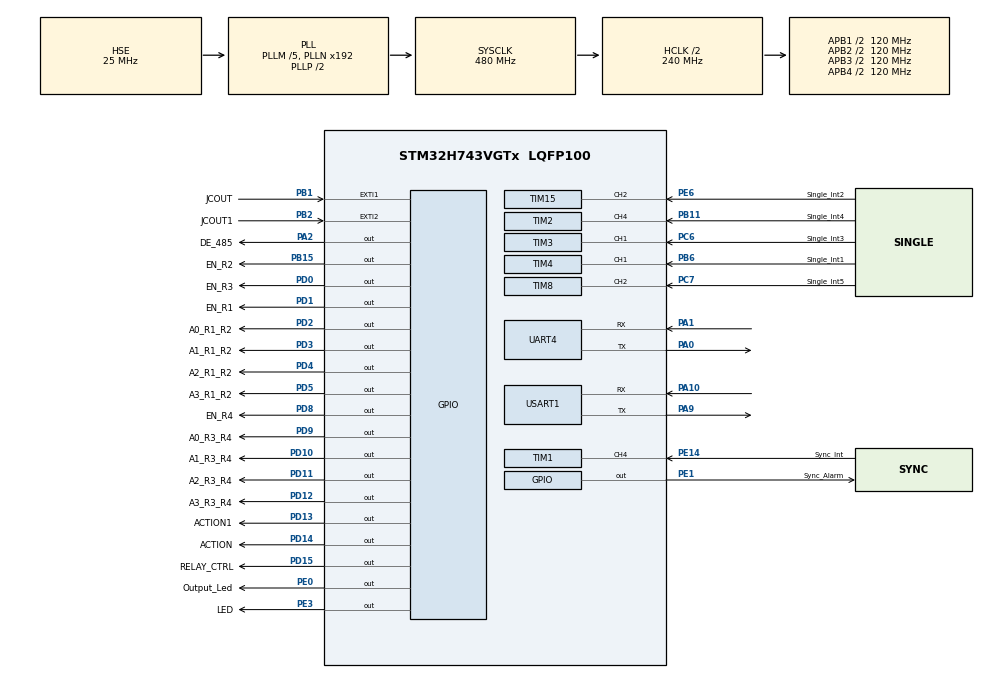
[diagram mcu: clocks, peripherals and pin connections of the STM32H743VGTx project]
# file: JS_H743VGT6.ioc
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CORTEX_M7.default_mode_Activation=1
FREERTOS.CountingSemaphores01=HolesCountingSem,16,Dynamic,NULL,0
FREERTOS.Events01=PositionEvent1_MPC1,Dynamic,NULL;PositionEvent2_MPC1,Dynamic,NULL;PositionEvent3_MPC1,Dynamic,NULL;PositionEvent4_MPC1,Dynamic,NULL;PositionEvent1_MPC2,Dynamic,NULL;PositionEvent2_MPC2,Dynamic,NULL;PositionEvent3_MPC2,Dynamic,NULL;PositionEvent4_MPC2,Dynamic,NULL
FREERTOS.Tasks01=SyncTask,34,128,StartSyncTask,Default,NULL,Dynamic,NULL,NULL;ICTask,32,128,StartICTask,Default,NULL,Dynamic,NULL,NULL;Rec_SwitchTask,32,128,StartRec_SwitchTask,Default,NULL,Dynamic,NULL,NULL;AlarmTask,24,128,StartAlarmTask,Default,NULL,Dynamic,NULL,NULL;Hole_ldentify,24,128,StartHole_ldentifyTask,Default,NULL,Dynamic,NULL,NULL
Mcu.Family=STM32H7
Mcu.Name=STM32H743VGTx
Mcu.Package=LQFP100
NVIC.EXTI1_IRQn=true\:6\:0\:true\:false\:true\:true\:true\:true\:true
NVIC.EXTI2_IRQn=true\:6\:0\:true\:false\:true\:true\:true\:true\:true
NVIC.PriorityGroup=NVIC_PRIORITYGROUP_4
NVIC.TIM15_IRQn=true\:6\:0\:true\:false\:true\:true\:true\:true\:true
NVIC.TIM17_IRQn=true\:15\:0\:false\:false\:true\:false\:false\:true\:true
NVIC.TIM1_CC_IRQn=true\:6\:0\:true\:false\:true\:true\:true\:true\:true
NVIC.TIM1_UP_IRQn=true\:6\:0\:true\:false\:true\:true\:true\:true\:true
NVIC.TIM2_IRQn=true\:6\:0\:true\:false\:true\:true\:true\:true\:true
NVIC.TIM3_IRQn=true\:6\:0\:true\:false\:true\:true\:true\:true\:true
NVIC.TIM4_IRQn=true\:6\:0\:true\:false\:true\:true\:true\:true\:true
NVIC.TIM6_DAC_IRQn=true\:5\:0\:false\:false\:true\:true\:true\:true\:true
NVIC.TIM7_IRQn=true\:6\:0\:true\:false\:true\:true\:true\:true\:true
NVIC.TIM8_CC_IRQn=true\:6\:0\:true\:false\:true\:true\:true\:true\:true
NVIC.TIM8_UP_TIM13_IRQn=true\:6\:0\:true\:false\:true\:true\:true\:true\:true
NVIC.TimeBase=TIM17_IRQn
NVIC.TimeBaseIP=TIM17
NVIC.UART4_IRQn=true\:6\:0\:true\:false\:true\:true\:true\:true\:true
NVIC.USART1_IRQn=true\:6\:0\:true\:false\:true\:true\:true\:true\:true
PA0.Mode=Asynchronous
PA0.Signal=UART4_TX
PA1.Mode=Asynchronous
PA1.Signal=UART4_RX
PA10.Mode=Asynchronous
PA10.Signal=USART1_RX
PA13\ (JTMS/SWDIO).Mode=Serial_Wire
PA13\ (JTMS/SWDIO).Signal=DEBUG_JTMS-SWDIO
PA14\ (JTCK/SWCLK).Mode=Serial_Wire
PA14\ (JTCK/SWCLK).Signal=DEBUG_JTCK-SWCLK
PA2.GPIO_Label=DE_485
PA2.GPIO_Speed=GPIO_SPEED_FREQ_HIGH
PA2.Signal=GPIO_Output
PA9.Mode=Asynchronous
PA9.Signal=USART1_TX
PB1.GPIO_Label=JCOUT
PB1.Signal=GPXTI1
PB11.GPIO_Label=Single_Int4
PB11.GPIO_Speed=GPIO_SPEED_FREQ_HIGH
PB11.Signal=S_TIM2_CH4
PB15.GPIO_Label=EN_R2
PB15.GPIO_ModeDefaultOutputPP=GPIO_MODE_OUTPUT_OD
PB15.GPIO_PuPd=GPIO_NOPULL
PB15.GPIO_Speed=GPIO_SPEED_FREQ_HIGH
PB15.PinState=GPIO_PIN_SET
PB15.Signal=GPIO_Output
PB2.GPIO_Label=JCOUT1
PB2.Signal=GPXTI2
PB6.GPIO_Label=Single_Int1
PB6.GPIO_Speed=GPIO_SPEED_FREQ_HIGH
PB6.Signal=S_TIM4_CH1
PC6.GPIO_Label=Single_Int3
PC6.GPIO_Speed=GPIO_SPEED_FREQ_HIGH
PC6.Signal=S_TIM3_CH1
PC7.GPIO_Label=Single_Int5
PC7.GPIO_Speed=GPIO_SPEED_FREQ_HIGH
PC7.Signal=S_TIM8_CH2
PD0.GPIO_Label=EN_R3
PD0.GPIO_ModeDefaultOutputPP=GPIO_MODE_OUTPUT_OD
PD0.GPIO_PuPd=GPIO_NOPULL
PD0.GPIO_Speed=GPIO_SPEED_FREQ_HIGH
PD0.PinState=GPIO_PIN_SET
PD0.Signal=GPIO_Output
PD1.GPIO_Label=EN_R1
PD1.GPIO_ModeDefaultOutputPP=GPIO_MODE_OUTPUT_OD
PD1.GPIO_PuPd=GPIO_NOPULL
PD1.GPIO_Speed=GPIO_SPEED_FREQ_HIGH
PD1.PinState=GPIO_PIN_SET
PD1.Signal=GPIO_Output
PD10.GPIO_Label=A1_R3_R4
PD10.GPIO_ModeDefaultOutputPP=GPIO_MODE_OUTPUT_OD
PD10.GPIO_PuPd=GPIO_NOPULL
PD10.GPIO_Speed=GPIO_SPEED_FREQ_HIGH
PD10.PinState=GPIO_PIN_SET
PD10.Signal=GPIO_Output
PD11.GPIO_Label=A2_R3_R4
PD11.GPIO_ModeDefaultOutputPP=GPIO_MODE_OUTPUT_OD
PD11.GPIO_PuPd=GPIO_NOPULL
PD11.GPIO_Speed=GPIO_SPEED_FREQ_HIGH
PD11.PinState=GPIO_PIN_SET
PD11.Signal=GPIO_Output
PD12.GPIO_Label=A3_R3_R4
PD12.GPIO_ModeDefaultOutputPP=GPIO_MODE_OUTPUT_OD
PD12.GPIO_PuPd=GPIO_NOPULL
PD12.GPIO_Speed=GPIO_SPEED_FREQ_HIGH
PD12.PinState=GPIO_PIN_SET
PD12.Signal=GPIO_Output
PD13.GPIO_Label=ACTION1
PD13.GPIO_ModeDefaultOutputPP=GPIO_MODE_OUTPUT_OD
PD13.GPIO_PuPd=GPIO_NOPULL
PD13.GPIO_Speed=GPIO_SPEED_FREQ_HIGH
PD13.PinState=GPIO_PIN_SET
PD13.Signal=GPIO_Output
PD14.GPIO_Label=ACTION
PD14.GPIO_ModeDefaultOutputPP=GPIO_MODE_OUTPUT_OD
PD14.GPIO_PuPd=GPIO_NOPULL
PD14.GPIO_Speed=GPIO_SPEED_FREQ_HIGH
PD14.PinState=GPIO_PIN_SET
PD14.Signal=GPIO_Output
PD15.GPIO_Label=RELAY_CTRL
PD15.GPIO_ModeDefaultOutputPP=GPIO_MODE_OUTPUT_OD
PD15.GPIO_PuPd=GPIO_NOPULL
PD15.GPIO_Speed=GPIO_SPEED_FREQ_HIGH
PD15.PinState=GPIO_PIN_SET
PD15.Signal=GPIO_Output
PD2.GPIO_Label=A0_R1_R2
PD2.GPIO_ModeDefaultOutputPP=GPIO_MODE_OUTPUT_OD
PD2.GPIO_PuPd=GPIO_NOPULL
PD2.GPIO_Speed=GPIO_SPEED_FREQ_HIGH
PD2.PinState=GPIO_PIN_SET
PD2.Signal=GPIO_Output
PD3.GPIO_Label=A1_R1_R2
PD3.GPIO_ModeDefaultOutputPP=GPIO_MODE_OUTPUT_OD
PD3.GPIO_PuPd=GPIO_NOPULL
PD3.GPIO_Speed=GPIO_SPEED_FREQ_HIGH
PD3.PinState=GPIO_PIN_SET
PD3.Signal=GPIO_Output
PD4.GPIO_Label=A2_R1_R2
PD4.GPIO_ModeDefaultOutputPP=GPIO_MODE_OUTPUT_OD
PD4.GPIO_PuPd=GPIO_NOPULL
PD4.GPIO_Speed=GPIO_SPEED_FREQ_HIGH
PD4.PinState=GPIO_PIN_SET
PD4.Signal=GPIO_Output
PD5.GPIO_Label=A3_R1_R2
PD5.GPIO_ModeDefaultOutputPP=GPIO_MODE_OUTPUT_OD
PD5.GPIO_PuPd=GPIO_NOPULL
PD5.GPIO_Speed=GPIO_SPEED_FREQ_HIGH
PD5.PinState=GPIO_PIN_SET
PD5.Signal=GPIO_Output
PD8.GPIO_Label=EN_R4
PD8.GPIO_ModeDefaultOutputPP=GPIO_MODE_OUTPUT_OD
PD8.GPIO_PuPd=GPIO_NOPULL
PD8.GPIO_Speed=GPIO_SPEED_FREQ_HIGH
PD8.PinState=GPIO_PIN_SET
PD8.Signal=GPIO_Output
PD9.GPIO_Label=A0_R3_R4
PD9.GPIO_ModeDefaultOutputPP=GPIO_MODE_OUTPUT_OD
PD9.GPIO_PuPd=GPIO_NOPULL
PD9.GPIO_Speed=GPIO_SPEED_FREQ_HIGH
PD9.PinState=GPIO_PIN_SET
PD9.Signal=GPIO_Output
PE0.GPIO_Label=Output_Led
PE0.GPIO_ModeDefaultOutputPP=GPIO_MODE_OUTPUT_OD
PE0.GPIO_PuPd=GPIO_NOPULL
PE0.GPIO_Speed=GPIO_SPEED_FREQ_HIGH
PE0.PinState=GPIO_PIN_SET
PE0.Signal=GPIO_Output
PE1.GPIO_Label=Sync_Alarm
PE1.GPIO_ModeDefaultOutputPP=GPIO_MODE_OUTPUT_OD
PE1.GPIO_PuPd=GPIO_NOPULL
PE1.GPIO_Speed=GPIO_SPEED_FREQ_HIGH
PE1.PinState=GPIO_PIN_SET
PE1.Signal=GPIO_Output
PE14.GPIO_Label=Sync_Int
PE14.GPIO_Speed=GPIO_SPEED_FREQ_HIGH
PE14.Signal=S_TIM1_CH4
PE3.GPIO_Label=LED
PE3.GPIO_Speed=GPIO_SPEED_FREQ_HIGH
PE3.PinState=GPIO_PIN_SET
PE3.Signal=GPIO_Output
PE6.GPIO_Label=Single_Int2
PE6.GPIO_Speed=GPIO_SPEED_FREQ_HIGH
PE6.Signal=S_TIM15_CH2
PH0-OSC_IN\ (PH0).Mode=HSE-External-Oscillator
PH0-OSC_IN\ (PH0).Signal=RCC_OSC_IN
PH1-OSC_OUT\ (PH1).Mode=HSE-External-Oscillator
PH1-OSC_OUT\ (PH1).Signal=RCC_OSC_OUT
ProjectManager.HeapSize=0x200
ProjectManager.StackSize=0x400
ProjectManager.TargetToolchain=MDK-ARM V5.32
RCC.ADCFreq_Value=50390625
RCC.APB1Freq_Value=120000000
RCC.APB2Freq_Value=120000000
RCC.APB3Freq_Value=120000000
RCC.APB4Freq_Value=120000000
RCC.CortexFreq_Value=480000000
RCC.D1PPRE=RCC_APB3_DIV2
RCC.D2PPRE1=RCC_APB1_DIV2
RCC.D2PPRE2=RCC_APB2_DIV2
RCC.D3PPRE=RCC_APB4_DIV2
RCC.DIVM1=5
RCC.DIVN1=192
RCC.HCLKFreq_Value=240000000
RCC.HPRE=RCC_HCLK_DIV2
RCC.PLL2FRACN=0
RCC.PLL3FRACN=0
RCC.PLLFRACN=0
RCC.PLLSourceVirtual=RCC_PLLSOURCE_HSE
RCC.SYSCLKFreq_VALUE=480000000
RCC.SYSCLKSource=RCC_SYSCLKSOURCE_PLLCLK
RCC.USBFreq_Value=480000000
SH.S_TIM15_CH2.0=TIM15_CH2,Input_Capture2_from_TI2
SH.S_TIM1_CH4.0=TIM1_CH4,Input_Capture4_from_TI4
SH.S_TIM2_CH4.0=TIM2_CH4,Input_Capture4_from_TI4
SH.S_TIM3_CH1.0=TIM3_CH1,Input_Capture1_from_TI1
SH.S_TIM4_CH1.0=TIM4_CH1,Input_Capture1_from_TI1
SH.S_TIM8_CH2.0=TIM8_CH2,Input_Capture2_from_TI2
TIM1.AutoReloadPreload=TIM_AUTORELOAD_PRELOAD_ENABLE
TIM1.Channel-Input_Capture4_from_TI4=TIM_CHANNEL_4
TIM1.ICFilter_CH4=15
TIM1.Period=50000-1
TIM1.Prescaler=240-1
TIM15.AutoReloadPreload=TIM_AUTORELOAD_PRELOAD_ENABLE
TIM15.Channel-Input_Capture2_from_TI2=TIM_CHANNEL_2
TIM15.ICPolarity_CH2=TIM_INPUTCHANNELPOLARITY_FALLING
TIM15.Period=50000-1
TIM15.Prescaler=240-1
TIM2.AutoReloadPreload=TIM_AUTORELOAD_PRELOAD_ENABLE
TIM2.Channel-Input_Capture4_from_TI4=TIM_CHANNEL_4
TIM2.Period=50000-1
TIM2.Prescaler=240-1
TIM3.AutoReloadPreload=TIM_AUTORELOAD_PRELOAD_ENABLE
TIM3.Channel-Input_Capture1_from_TI1=TIM_CHANNEL_1
TIM3.Period=50000-1
TIM3.Prescaler=240-1
TIM4.AutoReloadPreload=TIM_AUTORELOAD_PRELOAD_ENABLE
TIM4.Channel-Input_Capture1_from_TI1=TIM_CHANNEL_1
TIM4.Period=50000-1
TIM4.Prescaler=240-1
TIM6.AutoReloadPreload=TIM_AUTORELOAD_PRELOAD_ENABLE
TIM6.Period=10-1
TIM6.Prescaler=240-1
TIM7.AutoReloadPreload=TIM_AUTORELOAD_PRELOAD_ENABLE
TIM7.Period=65536-1
TIM7.Prescaler=240-1
TIM8.AutoReloadPreload=TIM_AUTORELOAD_PRELOAD_ENABLE
TIM8.Channel-Input_Capture2_from_TI2=TIM_CHANNEL_2
TIM8.Period=50000-1
TIM8.Prescaler=240-1
USART1.VirtualMode-Asynchronous=VM_ASYNC
VP_FREERTOS_VS_CMSIS_V2.Mode=CMSIS_V2
VP_MEMORYMAP_VS_MEMORYMAP.Mode=CurAppReg
VP_SYS_VS_tim17.Mode=TIM17
VP_TIM13_VS_ClockSourceINT.Mode=Enable_Timer
VP_TIM15_VS_ClockSourceINT.Mode=Internal
VP_TIM2_VS_ClockSourceINT.Mode=Internal
VP_TIM3_VS_ClockSourceINT.Mode=Internal
VP_TIM4_VS_ClockSourceINT.Mode=Internal
VP_TIM6_VS_ClockSourceINT.Mode=Enable_Timer
VP_TIM7_VS_ClockSourceINT.Mode=Enable_Timer
VP_TIM8_VS_ClockSourceINT.Mode=Internal
board=custom

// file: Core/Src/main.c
/* USER CODE BEGIN Header */
/**
  ******************************************************************************
  * @file           : main.c
  * @brief          : Main program body
  ******************************************************************************
  * @attention
  *
  * Copyright (c) 2024 STMicroelectronics.
  * All rights reserved.
  *
  * This software is licensed under terms that can be found in the LICENSE file
  * in the root directory of this software component.
  * If no LICENSE file comes with this software, it is provided AS-IS.
  *
  ******************************************************************************
  */
/* USER CODE END Header */
#include "main.h"
#include "cmsis_os.h"
#include "memorymap.h"
#include "tim.h"
#include "usart.h"
#include "gpio.h"

void SystemClock_Config(void);
static void MPU_Config(void);
void MX_FREERTOS_Init(void);

int main(void)
{

  /* MPU Configuration--------------------------------------------------------*/
  MPU_Config();

  /* MCU Configuration--------------------------------------------------------*/

  /* Reset of all peripherals, Initializes the Flash interface and the Systick. */
  HAL_Init();

  /* Configure the system clock */
  SystemClock_Config();

  /* Initialize all configured peripherals */
  MX_GPIO_Init();
  MX_TIM2_Init();
  MX_TIM3_Init();
  MX_TIM4_Init();
  MX_TIM8_Init();
  MX_TIM15_Init();
  MX_TIM1_Init();
  MX_UART4_Init();
  MX_TIM6_Init();
  MX_USART1_UART_Init();
  MX_TIM7_Init();
  MX_TIM13_Init();
  /* USER CODE BEGIN 2 */
  HAL_TIM_Base_Start_IT(&htim7);
  /* USER CODE END 2 */

  /* Init scheduler */
  osKernelInitialize();

  /* Call init function for freertos objects (in cmsis_os2.c) */
  MX_FREERTOS_Init();

  /* Start scheduler */
  osKernelStart();

  /* We should never get here as control is now taken by the scheduler */

  /* Infinite loop */
  while (1)
  {

  }
}

void SystemClock_Config(void)
{
  RCC_OscInitTypeDef RCC_OscInitStruct = {0};
  RCC_ClkInitTypeDef RCC_ClkInitStruct = {0};

  /** Supply configuration update enable
  */
  HAL_PWREx_ConfigSupply(PWR_LDO_SUPPLY);

  /** Configure the main internal regulator output voltage
  */
  __HAL_PWR_VOLTAGESCALING_CONFIG(PWR_REGULATOR_VOLTAGE_SCALE1);

  while(!__HAL_PWR_GET_FLAG(PWR_FLAG_VOSRDY)) {}

  __HAL_RCC_SYSCFG_CLK_ENABLE();
  __HAL_PWR_VOLTAGESCALING_CONFIG(PWR_REGULATOR_VOLTAGE_SCALE0);

  while(!__HAL_PWR_GET_FLAG(PWR_FLAG_VOSRDY)) {}

  /** Initializes the RCC Oscillators according to the specified parameters
  * in the RCC_OscInitTypeDef structure.
  */
  RCC_OscInitStruct.OscillatorType = RCC_OSCILLATORTYPE_HSE;
  RCC_OscInitStruct.HSEState = RCC_HSE_ON;
  RCC_OscInitStruct.PLL.PLLState = RCC_PLL_ON;
  RCC_OscInitStruct.PLL.PLLSource = RCC_PLLSOURCE_HSE;
  RCC_OscInitStruct.PLL.PLLM = 5;
  RCC_OscInitStruct.PLL.PLLN = 192;
  RCC_OscInitStruct.PLL.PLLP = 2;
  RCC_OscInitStruct.PLL.PLLQ = 2;
  RCC_OscInitStruct.PLL.PLLR = 2;
  RCC_OscInitStruct.PLL.PLLRGE = RCC_PLL1VCIRANGE_2;
  RCC_OscInitStruct.PLL.PLLVCOSEL = RCC_PLL1VCOWIDE;
  RCC_OscInitStruct.PLL.PLLFRACN = 0;
  if (HAL_RCC_OscConfig(&RCC_OscInitStruct) != HAL_OK)
  {
    Error_Handler();
  }

  /** Initializes the CPU, AHB and APB buses clocks
  */
  RCC_ClkInitStruct.ClockType = RCC_CLOCKTYPE_HCLK|RCC_CLOCKTYPE_SYSCLK
                              |RCC_CLOCKTYPE_PCLK1|RCC_CLOCKTYPE_PCLK2
                              |RCC_CLOCKTYPE_D3PCLK1|RCC_CLOCKTYPE_D1PCLK1;
  RCC_ClkInitStruct.SYSCLKSource = RCC_SYSCLKSOURCE_PLLCLK;
  RCC_ClkInitStruct.SYSCLKDivider = RCC_SYSCLK_DIV1;
  RCC_ClkInitStruct.AHBCLKDivider = RCC_HCLK_DIV2;
  RCC_ClkInitStruct.APB3CLKDivider = RCC_APB3_DIV2;
  RCC_ClkInitStruct.APB1CLKDivider = RCC_APB1_DIV2;
  RCC_ClkInitStruct.APB2CLKDivider = RCC_APB2_DIV2;
  RCC_ClkInitStruct.APB4CLKDivider = RCC_APB4_DIV2;

  if (HAL_RCC_ClockConfig(&RCC_ClkInitStruct, FLASH_LATENCY_4) != HAL_OK)
  {
    Error_Handler();
  }
}

 /* MPU Configuration */

void MPU_Config(void)
{
  MPU_Region_InitTypeDef MPU_InitStruct = {0};

  /* Disables the MPU */
  HAL_MPU_Disable();

  /** Initializes and configures the Region and the memory to be protected
  */
  MPU_InitStruct.Enable = MPU_REGION_ENABLE;
  MPU_InitStruct.Number = MPU_REGION_NUMBER0;
  MPU_InitStruct.BaseAddress = 0x0;
  MPU_InitStruct.Size = MPU_REGION_SIZE_4GB;
  MPU_InitStruct.SubRegionDisable = 0x87;
  MPU_InitStruct.TypeExtField = MPU_TEX_LEVEL0;
  MPU_InitStruct.AccessPermission = MPU_REGION_NO_ACCESS;
  MPU_InitStruct.DisableExec = MPU_INSTRUCTION_ACCESS_DISABLE;
  MPU_InitStruct.IsShareable = MPU_ACCESS_SHAREABLE;
  MPU_InitStruct.IsCacheable = MPU_ACCESS_NOT_CACHEABLE;
  MPU_InitStruct.IsBufferable = MPU_ACCESS_NOT_BUFFERABLE;

  HAL_MPU_ConfigRegion(&MPU_InitStruct);
  /* Enables the MPU */
  HAL_MPU_Enable(MPU_PRIVILEGED_DEFAULT);

}

//void HAL_TIM_PeriodElapsedCallback(TIM_HandleTypeDef *htim)
//{
//  /* USER CODE BEGIN Callback 0 */

//  /* USER CODE END Callback 0 */
//  if (htim->Instance == TIM17) {
//    HAL_IncTick();
//  }
//  /* USER CODE BEGIN Callback 1 */

//  /* USER CODE END Callback 1 */
//}

void Error_Handler(void)
{
  __disable_irq();
  while (1)
  {
  }
}

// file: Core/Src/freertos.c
/* USER CODE BEGIN Header */
/**
 ******************************************************************************
 * File Name          : freertos.c
 * Description        : Code for freertos applications
 ******************************************************************************
 * @attention
 *
 * Copyright (c) 2024 STMicroelectronics.
 * All rights reserved.
 *
 * This software is licensed under terms that can be found in the LICENSE file
 * in the root directory of this software component.
 * If no LICENSE file comes with this software, it is provided AS-IS.
 *
 ******************************************************************************
 */
/* USER CODE END Header */

#include "FreeRTOS.h"
#include "task.h"
#include "main.h"
#include "cmsis_os.h"

/* USER CODE BEGIN Includes */
#include "tim.h"
#include "gpio.h"
#include "limits.h"
#include "usart.h"
#include "stdio.h"
#include "semphr.h"
#include "portmacro.h"
#include "event_groups.h"

extern uint32_t Sync_capture_Buf[2]; // 存放计数值
extern uint8_t Sync_Cnt;             // 状态标志位
extern uint32_t Sync_high_time;      // 高电平时间

uint16_t semavalue = 0;

uint8_t Isfirstcirculation = 1;

int32_t position_old[4] = {0};
int32_t position_xor[4] = {0};

uint8_t position_num=0;

uint32_t test =0;
uint32_t test1 =0;
uint32_t test2 =0;
uint32_t test3 =0;
uint32_t test4 =0;
uint32_t test5 =0;
/* USER CODE END Includes */

/* USER CODE BEGIN PM */
void PrintTaskList(void);
/* USER CODE END PM */

/* Definitions for SyncTask */
osThreadId_t SyncTaskHandle;
const osThreadAttr_t SyncTask_attributes = {
  .name = "SyncTask",
  .stack_size = 128 * 4,
  .priority = (osPriority_t) osPriorityAboveNormal2,
};
/* Definitions for ICTask */
osThreadId_t ICTaskHandle;
const osThreadAttr_t ICTask_attributes = {
  .name = "ICTask",
  .stack_size = 128 * 4,
  .priority = (osPriority_t) osPriorityAboveNormal,
};
/* Definitions for Rec_SwitchTask */
osThreadId_t Rec_SwitchTaskHandle;
const osThreadAttr_t Rec_SwitchTask_attributes = {
  .name = "Rec_SwitchTask",
  .stack_size = 128 * 4,
  .priority = (osPriority_t) osPriorityAboveNormal,
};
/* Definitions for AlarmTask */
osThreadId_t AlarmTaskHandle;
const osThreadAttr_t AlarmTask_attributes = {
  .name = "AlarmTask",
  .stack_size = 128 * 4,
  .priority = (osPriority_t) osPriorityNormal,
};
/* Definitions for Hole_ldentify */
osThreadId_t Hole_ldentifyHandle;
const osThreadAttr_t Hole_ldentify_attributes = {
  .name = "Hole_ldentify",
  .stack_size = 128 * 4,
  .priority = (osPriority_t) osPriorityNormal,
};
/* Definitions for HolesCountingSem */
osSemaphoreId_t HolesCountingSemHandle;
const osSemaphoreAttr_t HolesCountingSem_attributes = {
  .name = "HolesCountingSem"
};
/* Definitions for PositionEvent1_MPC1 */
osEventFlagsId_t PositionEvent1_MPC1Handle;
const osEventFlagsAttr_t PositionEvent1_MPC1_attributes = {
  .name = "PositionEvent1_MPC1"
};
/* Definitions for PositionEvent2_MPC1 */
osEventFlagsId_t PositionEvent2_MPC1Handle;
const osEventFlagsAttr_t PositionEvent2_MPC1_attributes = {
  .name = "PositionEvent2_MPC1"
};
/* Definitions for PositionEvent3_MPC1 */
osEventFlagsId_t PositionEvent3_MPC1Handle;
const osEventFlagsAttr_t PositionEvent3_MPC1_attributes = {
  .name = "PositionEvent3_MPC1"
};
/* Definitions for PositionEvent4_MPC1 */
osEventFlagsId_t PositionEvent4_MPC1Handle;
const osEventFlagsAttr_t PositionEvent4_MPC1_attributes = {
  .name = "PositionEvent4_MPC1"
};
/* Definitions for PositionEvent1_MPC2 */
osEventFlagsId_t PositionEvent1_MPC2Handle;
const osEventFlagsAttr_t PositionEvent1_MPC2_attributes = {
  .name = "PositionEvent1_MPC2"
};
/* Definitions for PositionEvent2_MPC2 */
osEventFlagsId_t PositionEvent2_MPC2Handle;
const osEventFlagsAttr_t PositionEvent2_MPC2_attributes = {
  .name = "PositionEvent2_MPC2"
};
/* Definitions for PositionEvent3_MPC2 */
osEventFlagsId_t PositionEvent3_MPC2Handle;
const osEventFlagsAttr_t PositionEvent3_MPC2_attributes = {
  .name = "PositionEvent3_MPC2"
};
/* Definitions for PositionEvent4_MPC2 */
osEventFlagsId_t PositionEvent4_MPC2Handle;
const osEventFlagsAttr_t PositionEvent4_MPC2_attributes = {
  .name = "PositionEvent4_MPC2"
};

void StartSyncTask(void *argument);
void StartICTask(void *argument);
void StartRec_SwitchTask(void *argument);
void StartAlarmTask(void *argument);
void StartHole_ldentifyTask(void *argument);

void MX_FREERTOS_Init(void); /* (MISRA C 2004 rule 8.1) */

void MX_FREERTOS_Init(void) {

  /* Create the semaphores(s) */
  /* creation of HolesCountingSem */
  HolesCountingSemHandle = osSemaphoreNew(16, 0, &HolesCountingSem_attributes);

  /* Create the thread(s) */
  /* creation of SyncTask */
  SyncTaskHandle = osThreadNew(StartSyncTask, NULL, &SyncTask_attributes);

  /* creation of ICTask */
  ICTaskHandle = osThreadNew(StartICTask, NULL, &ICTask_attributes);

  /* creation of Rec_SwitchTask */
  Rec_SwitchTaskHandle = osThreadNew(StartRec_SwitchTask, NULL, &Rec_SwitchTask_attributes);

  /* creation of AlarmTask */
  AlarmTaskHandle = osThreadNew(StartAlarmTask, NULL, &AlarmTask_attributes);

  /* creation of Hole_ldentify */
  Hole_ldentifyHandle = osThreadNew(StartHole_ldentifyTask, NULL, &Hole_ldentify_attributes);

  /* Create the event(s) */
  /* creation of PositionEvent1_MPC1 */
  PositionEvent1_MPC1Handle = osEventFlagsNew(&PositionEvent1_MPC1_attributes);

  /* creation of PositionEvent2_MPC1 */
  PositionEvent2_MPC1Handle = osEventFlagsNew(&PositionEvent2_MPC1_attributes);

  /* creation of PositionEvent3_MPC1 */
  PositionEvent3_MPC1Handle = osEventFlagsNew(&PositionEvent3_MPC1_attributes);

  /* creation of PositionEvent4_MPC1 */
  PositionEvent4_MPC1Handle = osEventFlagsNew(&PositionEvent4_MPC1_attributes);

  /* creation of PositionEvent1_MPC2 */
  PositionEvent1_MPC2Handle = osEventFlagsNew(&PositionEvent1_MPC2_attributes);

  /* creation of PositionEvent2_MPC2 */
  PositionEvent2_MPC2Handle = osEventFlagsNew(&PositionEvent2_MPC2_attributes);

  /* creation of PositionEvent3_MPC2 */
  PositionEvent3_MPC2Handle = osEventFlagsNew(&PositionEvent3_MPC2_attributes);

  /* creation of PositionEvent4_MPC2 */
  PositionEvent4_MPC2Handle = osEventFlagsNew(&PositionEvent4_MPC2_attributes);

}

void StartSyncTask(void *argument)
{
  /* USER CODE BEGIN StartSyncTask */
  /* Infinite loop */
  for (;;)
  {
		test++;     //待删除
    switch (Sync_Cnt)
    {
    case 0:
      Sync_Cnt++;
      TIM_RESET_CAPTUREPOLARITY(&htim1, TIM_CHANNEL_4);
      __HAL_TIM_SET_CAPTUREPOLARITY(&htim1, TIM_CHANNEL_4, TIM_INPUTCHANNELPOLARITY_RISING);
      HAL_TIM_IC_Start_IT(&htim1, TIM_CHANNEL_4); // 启动输入捕获       或者: __HAL_TIM_ENABLE(&htim5);
      break;
    case 3:
      if (Sync_capture_Buf[1] < Sync_capture_Buf[0])
      {                                                                       // 不存在先捕获高电平后捕获低电平capture_Buf[1]<capture_Buf[0],肯定是有了溢出
        Sync_high_time = 50000 + Sync_capture_Buf[1] - Sync_capture_Buf[0]; // 100000    0x186A0
      }
      else
      {
        Sync_high_time = Sync_capture_Buf[1] - Sync_capture_Buf[0]; // 高电平时间
      }

     // Sync_Cnt = 0;
      // if (Sync_high_time == 0x1B)
      if (Sync_high_time >= 0x19&&Sync_high_time <= 0x1D)
      {
				test4++;
        Sync_Cnt = 5;
				xTaskNotifyGive((TaskHandle_t)Rec_SwitchTaskHandle);
        xTaskNotifyGive((TaskHandle_t)ICTaskHandle);
        vTaskDelay(4);
      }
      else
      {
        Sync_Cnt = 0;
      }
		}

  }
  /* USER CODE END StartSyncTask */
}

void StartICTask(void *argument)
{
  /* USER CODE BEGIN StartICTask */
  BaseType_t ret;

  /* Infinite loop */
  for (;;)
  {
    ret = ulTaskNotifyTake(pdFALSE, portMAX_DELAY);
    if (ret == pdPASS)
    {
			test1++;
      // LXXX:按照所查资料提示，如果不行那就还是将同步引脚更改为其他引脚，TIM2作为主定时器通过事件触发从定时器同步捕获，硬件层面的同步捕获
     HAL_TIM_IC_Start_IT(&htim4, TIM_CHANNEL_1);
     HAL_TIM_IC_Start_IT(&htim15, TIM_CHANNEL_2);
     HAL_TIM_IC_Start_IT(&htim3, TIM_CHANNEL_1);
     HAL_TIM_IC_Start_IT(&htim2, TIM_CHANNEL_4);
    }
    else
    {

    }
    vTaskDelay(4);
  }
  /* USER CODE END StartICTask */
}

void StartRec_SwitchTask(void *argument)
{
  /* USER CODE BEGIN StartRec_SwitchTask */
  BaseType_t ret;
  /* Infinite loop */
  for (;;)
  {

#if 1
    ret = ulTaskNotifyTake(pdFALSE, portMAX_DELAY);
#endif
    if (ret == pdPASS)
    {
      test2++;
      EN_R1_R2_open();
      HAL_TIM_Base_Start_IT(&htim6); // start timer for R1_channel switch
    }
   else
    {

    }
    vTaskDelay(4);
  }
  /* USER CODE END StartRec_SwitchTask */
}

void StartAlarmTask(void *argument)
{
  /* USER CODE BEGIN StartAlarmTask */
  BaseType_t ret;
//  TickType_t xLastWakeTime;

  uint16_t semavaluefromslave = 0;

//  // 初始化xLastWakeTime为当前的tick计数
//  xLastWakeTime = xTaskGetTickCount();
  /* Infinite loop */
  for (;;)
  {
	test5++;
    ret = ulTaskNotifyTake(pdFALSE, portMAX_DELAY);
    if (ret == pdPASS)
    {
      for(int i=0;i<4;i++){
      for (int j = 0; j < 32; j++)
      {
        if (((position_xor[i] >> j) & 1) == 1)
        {
          semavalue++;
        }
      }
    }
    }
    semavaluefromslave = uxSemaphoreGetCount(HolesCountingSemHandle); // Get number of semaphores
    xSemaphoreTake(HolesCountingSemHandle, pdMS_TO_TICKS(10));        // 减一
    semavalue += semavaluefromslave;
    semavaluefromslave = 0;

    if (semavalue > 0)
    {
      semavalue--;
      Holes_output_alarm_Open();
//      vTaskDelayUntil(&xLastWakeTime, pdMS_TO_TICKS(500));
			vTaskDelay(5000);
      Holes_output_alarm_Close();
    }

    vTaskDelay(4);
  }
  /* USER CODE END StartAlarmTask */
}

void StartHole_ldentifyTask(void *argument)
{
  /* USER CODE BEGIN StartHole_ldentifyTask */
  BaseType_t ret;
  int32_t position_new[4] = {0};

  int32_t position_new_plus_old[4] = {0};
  EventGroupHandle_t eventHandles[] = {
      PositionEvent1_MPC1Handle, PositionEvent1_MPC2Handle,
      PositionEvent2_MPC1Handle, PositionEvent2_MPC2Handle,
      PositionEvent3_MPC1Handle, PositionEvent3_MPC2Handle,
      PositionEvent4_MPC1Handle, PositionEvent4_MPC2Handle};
  /* Infinite loop */
  for(;;)
  {
		test3++;
    ret = ulTaskNotifyTake(pdFALSE, portMAX_DELAY);
    if (ret == pdPASS)

    {
      if (Isfirstcirculation) // 上电第一次循环
      {
        for (position_num = 0; position_num < 4; position_num++)
        {
          position_old[position_num] = (osEventFlagsGet(eventHandles[position_num * 2 + 1]) & 0xFFFF);
          position_old[position_num] |= (osEventFlagsGet(eventHandles[position_num * 2]) & 0xFFFF) << 16;
        }
        Isfirstcirculation = 0;
      }
      else
      {
        // 更新position_new并计算
        for (position_num = 0; position_num < 4; position_num++)
        {
          // 获取新值
          position_new[position_num] = (osEventFlagsGet(eventHandles[position_num * 2 + 1]) & 0xFFFF);
          position_new[position_num] |= (osEventFlagsGet(eventHandles[position_num * 2]) & 0xFFFF) << 16;

          // 计算异或和差值
          position_xor[position_num] = position_old[position_num] ^ position_new[position_num];
          position_new_plus_old[position_num] = position_new[position_num] - position_old[position_num];
         // 条件检查和通知
          if (position_xor[position_num] != 0 && position_new_plus_old[position_num] > 0 && xTaskGetSchedulerState() != taskSCHEDULER_NOT_STARTED)
          {
            xTaskNotifyGive(AlarmTaskHandle);
          }
          // 更新old值
          position_old[position_num] = position_new[position_num];
        }

        // 清除所有标志位，以便新的一轮置位
        for (position_num = 0; position_num < 8; position_num++)
        {
          xEventGroupClearBits(eventHandles[position_num], 0xFFFF);
        }
      }
    }
    vTaskDelay(4);
  }
  /* USER CODE END StartHole_ldentifyTask */
}

/* USER CODE BEGIN Application */
//LTODO：添加JCOUT任务，是否由外部中断加上计数信号量来添加孔洞个数

//LTODO:添加JCOUT，JCOUT1暂不添加
void HAL_GPIO_EXTI_Callback(uint16_t GPIO_Pin)
{
  BaseType_t xHigherPriorityTaskWoken = pdFALSE;
  if (GPIO_Pin == GPIO_PIN_1)
  {

    if (xTaskGetSchedulerState() != taskSCHEDULER_NOT_STARTED)
    {
      xSemaphoreGiveFromISR(HolesCountingSemHandle, &xHigherPriorityTaskWoken);
			vTaskNotifyGiveFromISR(AlarmTaskHandle, &xHigherPriorityTaskWoken);
//      portYIELD_FROM_ISR(xHigherPriorityTaskWoken);
    }
  }

}

/* USER CODE END Application */
